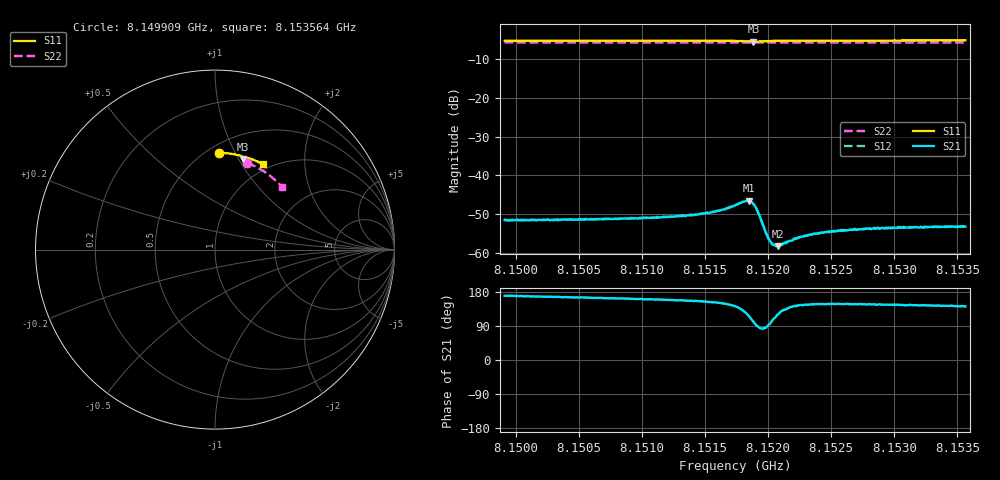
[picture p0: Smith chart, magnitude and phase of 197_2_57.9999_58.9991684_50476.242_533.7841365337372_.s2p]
#  HZ  S  RI  R  50.00
! Rohde & Schwarz Vector Network Analyzer
! Rohde-Schwarz,ZNB20-2Port,1311601062101988,3.16
! Created: UTC 3/21/2024, 12:59:05 AM
! freq[Hz]  re:S11  im:S11  re:S21  im:S21  re:S12  im:S12  re:S22  im:S22
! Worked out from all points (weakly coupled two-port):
!   401 points, 8.149909 GHz to 8.153564 GHz, reference 50 ohm
!   highest |S21| = -46.53 dB at 8.151846 GHz (marker M1); lowest = -58.2 dB at 8.152075 GHz (marker M2)
!   lowest |S11| = -5.6 dB at 8.151883 GHz (marker M3), VSWR 3.22, Z = 37.4 + j52 ohm
!   |S11| at or under -10 dB: nowhere
!   |S22| runs from -5.8 to -5.8 dB; largest |S21 - S12| = 0.00012
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8.1499093e9  0.0244 0.5396  -0.00263 0.000492  -0.00262 0.000526  0.1805 0.4831
8.1505215e9  0.0674 0.5369  -0.0026 0.000677  -0.00263 0.000744  0.2168 0.4674
8.1511337e9  0.1103 0.5306  -0.00269 0.000995  -0.00269 0.00107  0.2517 0.4486
8.1512981e9  0.1221 0.5282  -0.00278 0.00116  -0.00275 0.0012  0.2607 0.4432
8.1514991e9  0.1367 0.5245  -0.00292 0.00142  -0.00289 0.00147  0.2719 0.4362
8.1516362e9  0.1473 0.5206  -0.00311 0.00183  -0.00312 0.00185  0.2791 0.4313
8.1517367e9  0.1555 0.5159  -0.00324 0.00253  -0.00321 0.00261  0.2844 0.4275
8.1518189e9  0.1597 0.5079  -0.00272 0.0038  -0.00269 0.0039  0.2886 0.4243
8.1518463e9  0.1589 0.5049  -0.00209 0.00423  -0.00205 0.00425  0.2899 0.4232
8.1518829e9  0.1553 0.503  -0.000809 0.0042  -0.000742 0.00425  0.2915 0.4219
8.1519012e9  0.1534 0.5039  -0.00023 0.00387  -0.0002 0.00389  0.2925 0.4214
8.1519194e9  0.1523 0.5056  0.000128 0.00335  0.000211 0.00336  0.2933 0.4206
8.1519743e9  0.1545 0.5112  0.00017 0.00194  0.000223 0.00197  0.2962 0.4189
8.1520108e9  0.1579 0.5133  -0.000118 0.00145  -9.02e-05 0.00149  0.2981 0.4176
8.1520291e9  0.1597 0.5139  -0.000304 0.00129  -0.000273 0.00127  0.2992 0.4168
8.1520474e9  0.1615 0.5141  -0.000446 0.0012  -0.000398 0.00122  0.3 0.4162
8.1520748e9  0.1641 0.5144  -0.000604 0.00107  -0.000598 0.00109  0.3015 0.4152
8.152221e9  0.1766 0.5128  -0.0012 0.000942  -0.00124 0.00094  0.3091 0.4095
8.1523489e9  0.1862 0.5103  -0.00146 0.000923  -0.00148 0.000997  0.3155 0.4043
8.1525682e9  0.2016 0.505  -0.00163 0.00103  -0.00164 0.00109  0.3263 0.3953
8.1529611e9  0.2275 0.4949  -0.00174 0.00119  -0.00173 0.00122  0.3449 0.3784
8.1535641e9  0.2655 0.4767  -0.00171 0.00137  -0.00172 0.00137  0.3716 0.351
